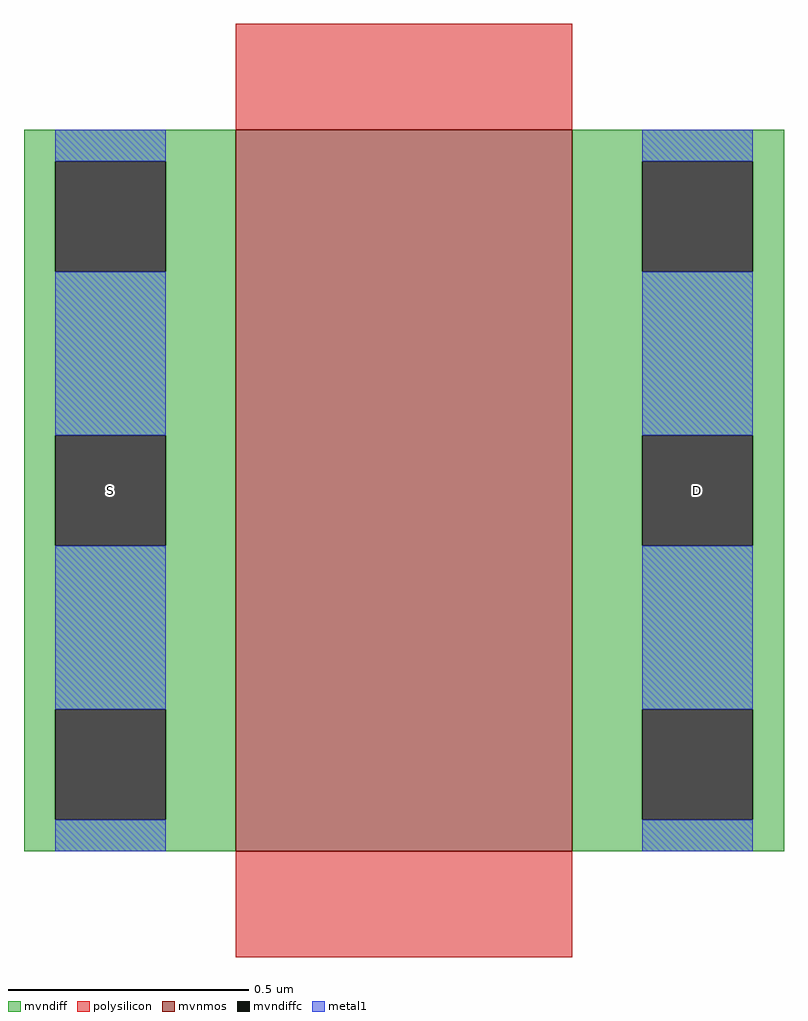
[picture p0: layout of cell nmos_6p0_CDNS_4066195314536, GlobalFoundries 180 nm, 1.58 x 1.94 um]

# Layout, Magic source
magic
tech gf180mcuD
magscale 1 10
<< mvnmos >>
rect 0 0 140 300
<< mvndiff >>
rect -88 287 0 300
rect -88 241 -75 287
rect -29 241 0 287
rect -88 173 0 241
rect -88 127 -75 173
rect -29 127 0 173
rect -88 59 0 127
rect -88 13 -75 59
rect -29 13 0 59
rect -88 0 0 13
rect 140 287 228 300
rect 140 241 169 287
rect 215 241 228 287
rect 140 173 228 241
rect 140 127 169 173
rect 215 127 228 173
rect 140 59 228 127
rect 140 13 169 59
rect 215 13 228 59
rect 140 0 228 13
<< mvndiffc >>
rect -75 241 -29 287
rect -75 127 -29 173
rect -75 13 -29 59
rect 169 241 215 287
rect 169 127 215 173
rect 169 13 215 59
<< polysilicon >>
rect 0 300 140 344
rect 0 -44 140 0
<< metal1 >>
rect -75 287 -29 300
rect -75 173 -29 241
rect -75 59 -29 127
rect -75 0 -29 13
rect 169 287 215 300
rect 169 173 215 241
rect 169 59 215 127
rect 169 0 215 13
<< labels >>
rlabel mvndiffc 192 150 192 150 4 D
rlabel mvndiffc -52 150 -52 150 4 S
<< end >>
